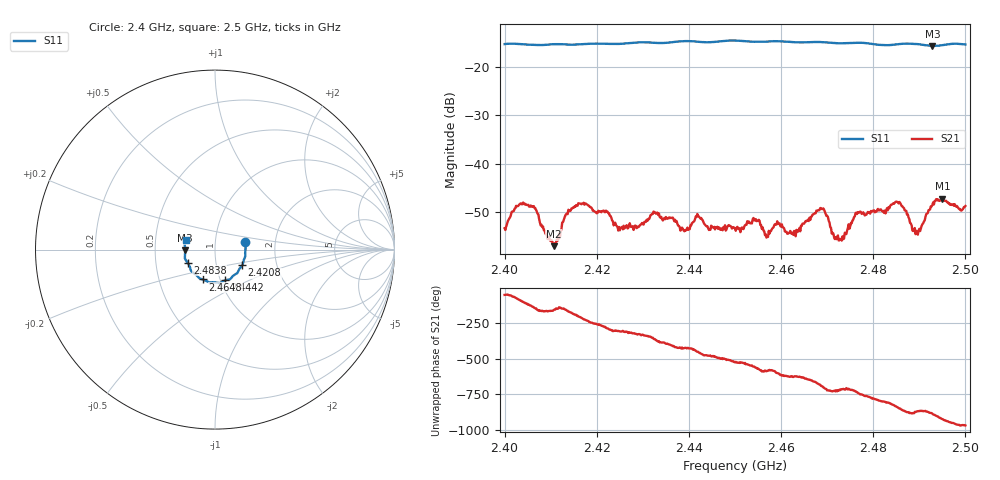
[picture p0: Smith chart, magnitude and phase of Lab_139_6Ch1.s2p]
# Hz S RI R 50
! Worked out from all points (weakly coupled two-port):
!   601 points, 2.4 GHz to 2.5 GHz, reference 50 ohm
!   highest |S21| = -47.17 dB at 2.495 GHz (marker M1); lowest = -57.0 dB at 2.4107 GHz (marker M2)
!   lowest |S11| = -15.6 dB at 2.4928 GHz (marker M3), VSWR 1.40, Z = 35.8 - j0.369 ohm
!   |S11| at or under -10 dB: start of sweep to end of sweep
!   S12 and S22 are empty: the file has one direction only
!   S11 on the Smith chart (normalised r, x): 2.4 GHz: 1.40, +0.12; 2.4208 GHz: 1.33, -0.24; 2.4442 GHz: 1.05, -0.37; 2.4648 GHz: 0.83, -0.28; 2.4838 GHz: 0.73, -0.11; 2.5 GHz: 0.72, +0.08
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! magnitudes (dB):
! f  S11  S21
! 2.4 GHz  -15.3  -53.3
! 2.4045 GHz  -15.3  -48.3
! 2.4107 GHz  -15.3  -57.0
! 2.4135 GHz  -15.3  -50.3
! 2.4167 GHz  -15.3  -48.4
! 2.4208 GHz  -15.2  -49.8
! 2.4252 GHz  -15.2  -53.2
! 2.4333 GHz  -15.0  -50.6
! 2.4442 GHz  -14.9  -53.3
! 2.45 GHz  -14.5  -53.3
! 2.4648 GHz  -14.9  -52.3
! 2.4667 GHz  -14.8  -50.8
! 2.469 GHz  -14.8  -49.3
! 2.473 GHz  -15.1  -55.6
! 2.4767 GHz  -15.0  -50.0
! 2.4833 GHz  -15.5  -48.9
! 2.4838 GHz  -15.4  -48.5
! 2.4862 GHz  -15.2  -48.7
! 2.4897 GHz  -15.3  -54.6
! 2.4928 GHz  -15.6  -48.5
! 2.495 GHz  -15.5  -47.2
! 2.5 GHz  -15.3  -48.7
